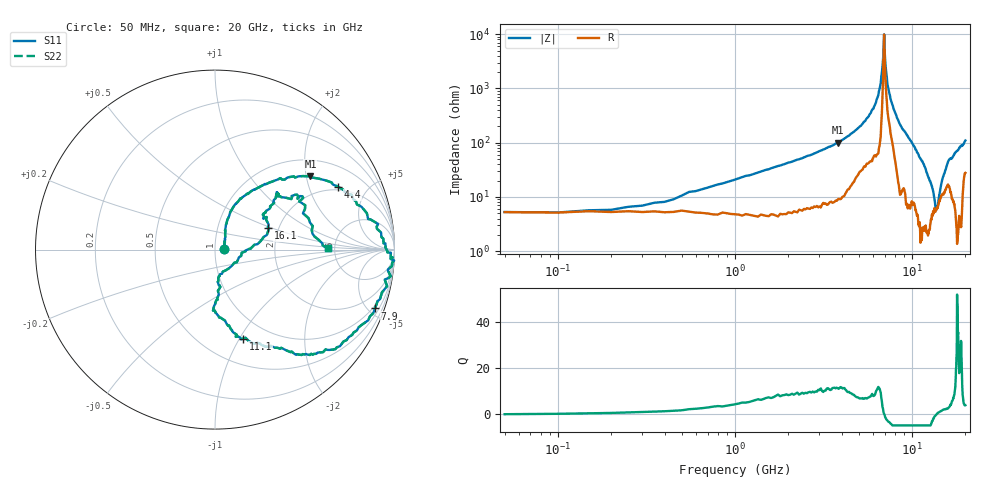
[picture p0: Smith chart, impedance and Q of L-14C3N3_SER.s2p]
# MHZ S MA R 50
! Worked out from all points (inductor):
!   400 points, 50 MHz to 20 GHz, reference 50 ohm
!   read as one part in series: L = 3.16 nH near 750 MHz
!   highest Q = 11.4 at 3.8 GHz (marker M1), where L = 4.19 nH
!   self-resonance near 6.95 GHz
!   S11 on the Smith chart (normalised r, x): 50 MHz: 1.10, +0.01; 4.4 GHz: 1.84, +3.17; 7.9 GHz: 0.82, -5.50; 11.1 GHz: 0.76, -1.04; 16.1 GHz: 1.76, +0.47; 20 GHz: 4.40, +0.11
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50  0.05 6.8  0.95 0.9  0.95 0.9  0.05 6.8
1150  0.22 67.7  0.92 -13.2  0.92 -13.2  0.22 67.7
3400  0.6 42.8  0.75 -41.4  0.75 -41.4  0.6 42.8
3800  0.67 37.5  0.7 -46.7  0.7 -46.7  0.67 37.5
4400  0.77 27.0  0.6 -56.2  0.6 -56.2  0.77 27.0
6050  0.96 -0.5  0.23 -83.0  0.23 -83.0  0.96 -0.5
6450  0.98 -1.8  0.13 -86.9  0.13 -86.9  0.98 -1.8
6700  0.98 -2.8  0.06 -84.7  0.06 -84.7  0.98 -2.8
6850  1 -3.5  0.03 -69.9  0.03 -69.9  1 -3.5
6950  0.99 -4.9  0.01 -6.1  0.01 -6.1  0.99 -4.9
7050  0.99 -5.3  0.03 49.4  0.03 49.4  0.99 -5.3
7250  0.97 -6.9  0.08 63.8  0.08 63.8  0.97 -6.9
7900  0.95 -20.2  0.23 60.7  0.23 60.7  0.95 -20.2
8700  0.87 -39.6  0.41 47.5  0.41 47.5  0.87 -39.6
10050  0.7 -54.1  0.65 32.7  0.65 32.7  0.7 -54.1
11100  0.52 -72.4  0.79 18.8  0.79 18.8  0.52 -72.4
13350  0.21 -81.8  0.91 -4.9  0.91 -4.9  0.21 -81.8
14550  0.13 -34.0  0.94 -17.4  0.94 -17.4  0.13 -34.0
16100  0.32 21.9  0.89 -32.5  0.89 -32.5  0.32 21.9
16700  0.33 34.8  0.88 -36.1  0.88 -36.1  0.33 34.8
18900  0.57 31.4  0.79 -56.6  0.79 -56.6  0.57 31.4
20000  0.63 0.7  0.69 -68.8  0.69 -68.8  0.63 0.7
